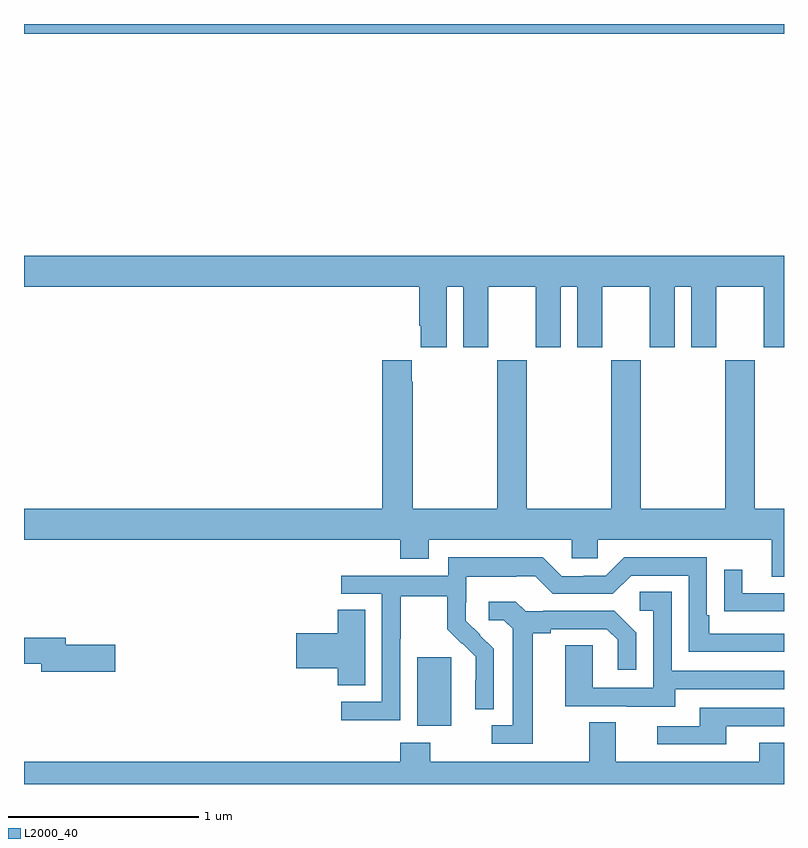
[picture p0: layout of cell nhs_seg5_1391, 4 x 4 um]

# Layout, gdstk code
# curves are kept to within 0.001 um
import gdstk
lib = gdstk.Library(unit=1e-6, precision=1e-09)
def R(c, l, rs):  # rectangles x0, y0, x1, y1
    for r in rs: c.add(gdstk.rectangle(r[:2], r[2:], *l))
def P(c, l, *ps):  # polygons
    for p in ps: c.add(gdstk.Polygon(p, *l))
L2000_40 = (2000, 40)

nhs_seg5_1391 = lib.new_cell('nhs_seg5_1391')
R(nhs_seg5_1391, L2000_40, [(197.069,865.106,197.248,865.467), (195,868.748,199,868.799)])
P(nhs_seg5_1391, L2000_40, [(195,867.416),(197.081,867.416),(197.081,867.211),(197.087,867.211),(197.087,867.099),(197.224,867.099),(197.224,867.416),(197.312,867.416),(197.312,867.099),(197.443,867.099),(197.443,867.416),(197.693,867.416),(197.693,867.099),(197.824,867.099),(197.824,867.416),(197.912,867.416),(197.912,867.099),(198.043,867.099),(198.043,867.416),(198.293,867.416),(198.293,867.099),(198.424,867.099),(198.424,867.416),(198.512,867.416),(198.512,867.099),(198.643,867.099),(198.643,867.416),(198.893,867.416),(198.893,867.099),(199,867.099),(199,867.58),(195,867.58)],
  [(199,866.248),(198.846,866.248),(198.846,867.028),(198.691,867.028),(198.691,866.248),(198.246,866.248),(198.246,867.028),(198.091,867.028),(198.091,866.248),(197.646,866.248),(197.646,867.028),(197.491,867.028),(197.491,866.248),(197.046,866.248),(197.046,866.915),(197.041,866.915),(197.041,867.028),(196.886,867.028),(196.886,866.248),(195,866.248),(195,866.084),(196.979,866.084),(196.979,865.985),(197.131,865.985),(197.131,866.084),(197.883,866.084),(197.883,865.986),(198.021,865.986),(198.021,866.084),(198.935,866.084),(198.935,865.89),(199,865.89)],
  [(196.98,865.564),(196.983,865.564),(196.983,865.788),(197.227,865.788),(197.227,865.613),(197.304,865.536),(197.307,865.539),(197.378,865.469),(197.378,865.346),(197.376,865.346),(197.376,865.192),(197.472,865.192),(197.472,865.51),(197.326,865.658),(197.326,865.755),(197.328,865.755),(197.328,865.889),(197.591,865.889),(197.591,865.893),(197.691,865.893),(197.784,865.8),(198.099,865.8),(198.195,865.896),(198.498,865.896),(198.498,865.494),(199,865.494),(199,865.59),(198.607,865.59),(198.607,865.687),(198.594,865.687),(198.594,865.992),(198.159,865.992),(198.063,865.896),(197.945,865.896),(197.945,865.893),(197.829,865.893),(197.729,865.993),(197.232,865.993),(197.232,865.896),(196.671,865.896),(196.671,865.8),(196.884,865.8),(196.884,865.233),(196.671,865.233),(196.671,865.135),(196.98,865.135)],
  [(199,865.803),(198.781,865.803),(198.781,865.927),(198.685,865.927),(198.685,865.708),(198.787,865.708),(198.787,865.707),(199,865.707)],
  [(198.427,865.299),(199,865.299),(199,865.395),(198.408,865.395),(198.408,865.811),(198.24,865.811),(198.24,865.71),(198.312,865.71),(198.312,865.305),(197.994,865.305),(197.994,865.529),(197.849,865.529),(197.849,865.209),(198.173,865.209),(198.173,865.205),(198.427,865.205)],
  [(197.677,865.592),(197.773,865.592),(197.773,865.614),(198.068,865.614),(198.125,865.557),(198.125,865.401),(198.222,865.401),(198.222,865.594),(198.106,865.71),(197.734,865.71),(197.734,865.707),(197.64,865.707),(197.588,865.759),(197.445,865.759),(197.445,865.662),(197.526,865.662),(197.573,865.615),(197.573,865.107),(197.463,865.107),(197.463,865.011),(197.677,865.011)],
  [(196.795,865.715),(196.652,865.715),(196.652,865.592),(196.434,865.592),(196.434,865.409),(196.652,865.409),(196.652,865.318),(196.795,865.318)],
  [(195.481,865.532),(195.22,865.532),(195.22,865.568),(195,865.568),(195,865.432),(195.092,865.432),(195.092,865.39),(195.481,865.39)],
  [(198.697,865.104),(199,865.104),(199,865.2),(198.557,865.2),(198.557,865.104),(198.333,865.104),(198.333,865.008),(198.697,865.008)],
  [(199,865.015),(198.869,865.015),(198.869,864.916),(198.115,864.916),(198.115,865.124),(197.975,865.124),(197.975,864.916),(197.139,864.916),(197.139,865.015),(196.979,865.015),(196.979,864.916),(195,864.916),(195,864.799),(199,864.799)])

lib.write_gds('nhs_seg5_1391.gds')
